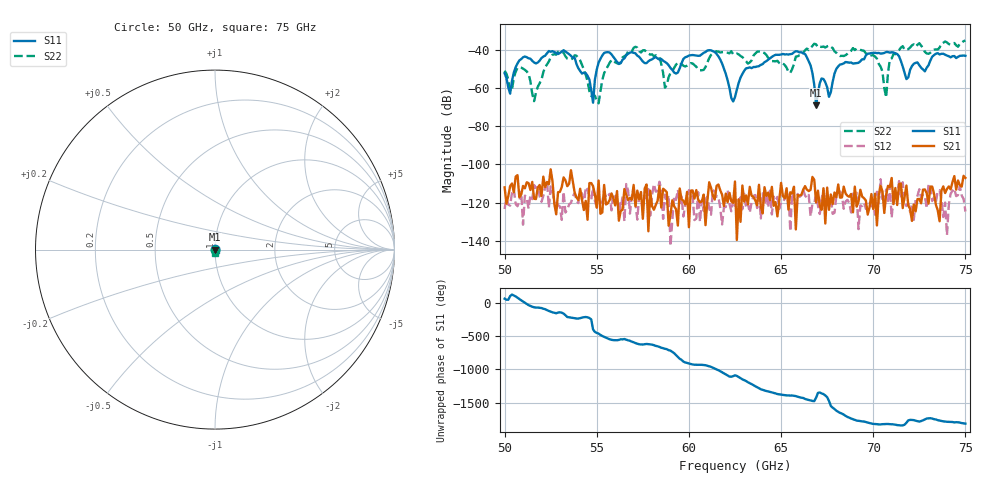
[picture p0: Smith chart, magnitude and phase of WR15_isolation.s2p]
#  HZ  S  RI  R  50.00
! Rohde & Schwarz ZVA67 4Ports - Version 3.90 - 1312.7004k03 SN: 101122
! Date: 2018-02-09 12:06:48
! Measurements: S11 S21 S12 S22
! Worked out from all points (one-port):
!   251 points, 50 GHz to 75 GHz, reference 50 ohm
!   lowest |S11| = -69.1 dB at 66.9 GHz (marker M1), VSWR 1.00, Z = 50 + j0.0111 ohm
!   |S11| at or under -10 dB: start of sweep to end of sweep
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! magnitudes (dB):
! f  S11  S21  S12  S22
! 50 GHz  -52.3  -112.0  -123.4  -51.0
! 50.3 GHz  -63.0  -111.4  -121.5  -61.8
! 50.9 GHz  -44.9  -115.8  -114.3  -49.4
! 51.6 GHz  -46.7  -118.0  -110.8  -66.9
! 52.6 GHz  -40.8  -109.0  -114.3  -42.6
! 54.2 GHz  -52.5  -118.7  -115.1  -48.0
! 54.8 GHz  -67.7  -111.4  -111.9  -63.6
! 55.1 GHz  -46.8  -108.5  -120.8  -68.1
! 55.8 GHz  -42.5  -115.2  -124.1  -45.5
! 58.4 GHz  -45.2  -111.3  -109.1  -43.7
! 58.7 GHz  -46.4  -113.5  -115.9  -59.9
! 61.4 GHz  -41.2  -118.4  -114.2  -41.3
! 62.5 GHz  -64.8  -109.0  -121.7  -42.5
! 64.7 GHz  -42.7  -119.7  -118.6  -46.1
! 66.7 GHz  -52.2  -106.6  -120.7  -38.1
! 66.9 GHz  -69.1  -119.9  -115.8  -37.2
! 67.2 GHz  -55.0  -123.8  -118.0  -38.6
! 70.1 GHz  -41.6  -115.4  -126.3  -43.6
! 70.7 GHz  -41.2  -115.9  -113.2  -65.0
! 70.9 GHz  -41.6  -111.9  -110.9  -45.2
! 71.8 GHz  -55.4  -111.1  -121.8  -39.9
! 75 GHz  -43.2  -107.1  -124.7  -35.2
